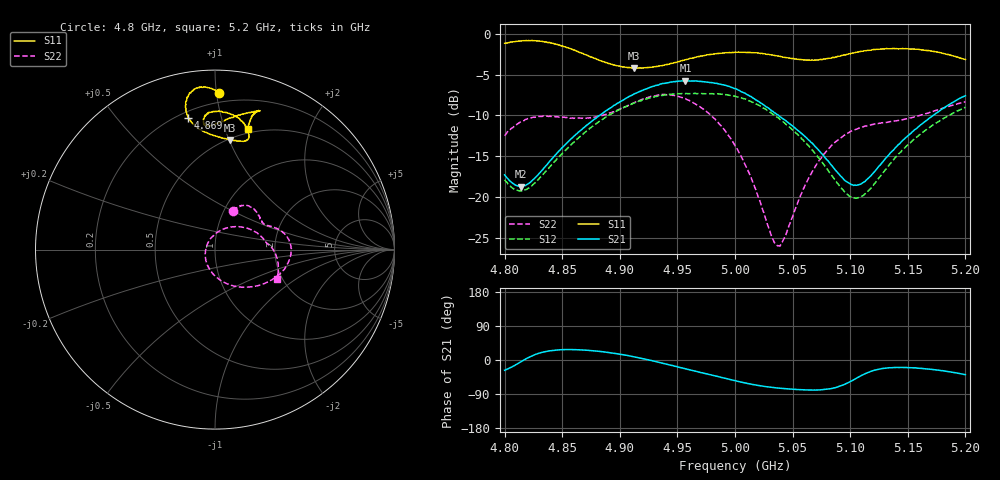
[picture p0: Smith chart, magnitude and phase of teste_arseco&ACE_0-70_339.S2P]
! Network Analyzer HP8722D
! Hewlett-Packard
! Data name: Linha & Wilkinson
! Saver's name: Rodrigo Anjos
! Comments: Teste da utilização de aquisição
! continua pelo VNA HP8722D
! Time and date: 8/5/2025 15:35
!  Frequency  S11  S21  S12  S22
# HZ  S  MA R 50
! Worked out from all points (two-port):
!   401 points, 4.8 GHz to 5.2 GHz, reference 50 ohm
!   highest |S21| = -5.74 dB at 4.957 GHz (marker M1); lowest = -18.7 dB at 4.814 GHz (marker M2)
!   |S21| within 3 dB of the highest: 4.895 GHz to 5.025 GHz (130.1 MHz wide, 2.62 % of centre); 5.184896 GHz to end of sweep
!   lowest |S11| = -4.2 dB at 4.912 GHz (marker M3), VSWR 4.21, Z = 25.5 + j50.2 ohm
!   |S11| at or under -10 dB: nowhere
!   |S22| runs from -26.0 to -7.4 dB; largest |S21 - S12| = 0.89
!   S11 on the Smith chart (normalised r, x): 4.8 GHz: 0.14, +1.02; 4.869 GHz: 0.23, +0.79; 5.2 GHz: 0.46, +1.20
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4.8e9  0.8749 88.6  0.137 -27.1  0.1278 100.3  0.2379 64.3
4.814e9  0.903 92.5  0.1163 -4.9  0.1094 119.8  0.2883 58.2
4.824e9  0.9102 95.5  0.1265 11.0  0.118 134.5  0.3074 52.5
4.841e9  0.8767 99.5  0.1716 25.1  0.1586 148.5  0.312 42.1
4.867e9  0.7598 101.6  0.2601 26.4  0.2397 153.5  0.304 30.6
4.869e9  0.751 101.6  0.2674 26.1  0.247 153.5  0.3033 29.9
4.912e9  0.6163 82.4  0.4268 8.6  0.3754 141.5  0.377 16.7
4.934e9  0.6352 73.8  0.4877 -6.2  0.4184 129.6  0.4228 3.3
4.957e9  0.6937 74.9  0.5162 -23.3  0.4303 115.1  0.4013 -16.1
4.981e9  0.752 81.0  0.501 -40.7  0.4286 99.9  0.3075 -41.1
5e9  0.7716 87.3  0.4617 -54.6  0.4158 86.5  0.2069 -68.8
5.019e9  0.7653 92.3  0.3909 -66.6  0.3703 73.3  0.1062 -109.4
5.032e9  0.7427 94.5  0.3367 -72.2  0.3253 66.2  0.05704 -161.3
5.037e9  0.7309 94.9  0.3197 -73.9  0.3075 64.1  0.05037 167.0
5.043e9  0.7185 95.1  0.2972 -75.6  0.2851 61.8  0.05665 129.8
5.067e9  0.6924 92.8  0.2144 -79.2  0.1949 57.8  0.1429 59.2
5.084e9  0.7115 87.1  0.1564 -75.2  0.1359 63.7  0.2077 36.3
5.103e9  0.7628 79.4  0.1181 -52.2  0.09903 90.1  0.2574 19.7
5.114e9  0.7868 75.5  0.1276 -34.8  0.1064 109.9  0.2728 13.7
5.134e9  0.8094 72.4  0.1831 -20.4  0.1578 125.8  0.2896 7.5
5.171e9  0.7833 74.0  0.3127 -24.9  0.2738 120.3  0.3335 -2.6
5.2e9  0.6959 74.8  0.4178 -38.7  0.3553 109.2  0.3835 -25.4
